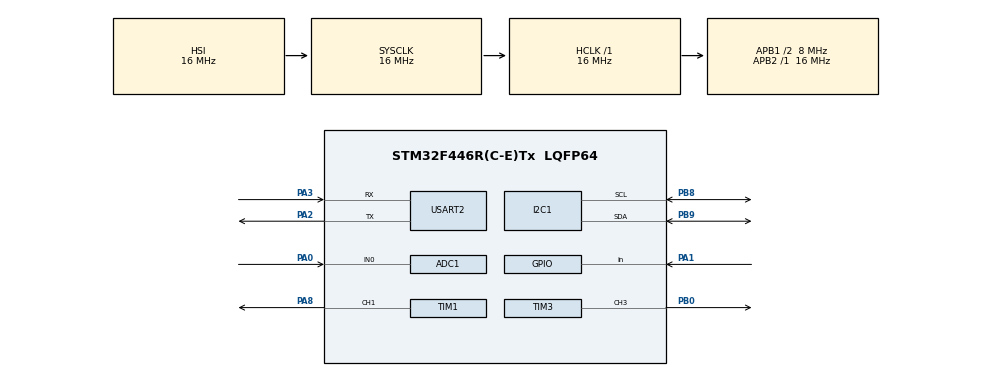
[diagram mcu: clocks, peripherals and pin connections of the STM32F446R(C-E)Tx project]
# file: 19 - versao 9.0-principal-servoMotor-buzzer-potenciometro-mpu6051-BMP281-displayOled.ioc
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ADC1.Channel-7\#ChannelRegularConversion=ADC_CHANNEL_0
ADC1.NbrOfConversionFlag=1
ADC1.Rank-7\#ChannelRegularConversion=1
ADC1.Resolution=ADC_RESOLUTION_8B
ADC1.SamplingTime-7\#ChannelRegularConversion=ADC_SAMPLETIME_3CYCLES
ADC1.master=1
Mcu.Family=STM32F4
Mcu.Name=STM32F446R(C-E)Tx
Mcu.Package=LQFP64
NVIC.PriorityGroup=NVIC_PRIORITYGROUP_0
PA0-WKUP.Signal=ADCx_IN0
PA1.GPIO_PuPd=GPIO_PULLUP
PA1.Signal=GPIO_Input
PA2.Mode=Asynchronous
PA2.Signal=USART2_TX
PA3.Mode=Asynchronous
PA3.Signal=USART2_RX
PA8.Signal=S_TIM1_CH1
PB0.Signal=S_TIM3_CH3
PB8.Mode=I2C
PB8.Signal=I2C1_SCL
PB9.Mode=I2C
PB9.Signal=I2C1_SDA
ProjectManager.HeapSize=0x200
ProjectManager.StackSize=0x400
ProjectManager.TargetToolchain=STM32CubeIDE
RCC.48MHZClocksFreq_Value=84000000
RCC.AHBFreq_Value=16000000
RCC.APB1CLKDivider=RCC_HCLK_DIV2
RCC.APB1Freq_Value=8000000
RCC.APB1TimFreq_Value=16000000
RCC.APB2Freq_Value=16000000
RCC.APB2TimFreq_Value=16000000
RCC.CortexFreq_Value=16000000
RCC.FLatency-AdvancedSettings=FLASH_LATENCY_0
RCC.HCLKFreq_Value=16000000
RCC.HSE_VALUE=8000000
RCC.HSI_VALUE=16000000
RCC.PLLN=336
RCC.PLLP=RCC_PLLP_DIV4
RCC.SYSCLKFreq_VALUE=16000000
RCC.USBFreq_Value=168000000
RCC.VCOOutputFreq_Value=336000000
SH.ADCx_IN0.0=ADC1_IN0,IN0
SH.S_TIM1_CH1.0=TIM1_CH1,PWM Generation1 CH1
SH.S_TIM3_CH3.0=TIM3_CH3,PWM Generation3 CH3
TIM1.Channel-PWM\ Generation1\ CH1=TIM_CHANNEL_1
TIM1.Period=2000
TIM1.Prescaler=160-1
TIM3.Channel-PWM\ Generation3\ CH3=TIM_CHANNEL_3
USART2.VirtualMode=VM_ASYNC
VP_TIM1_VS_ClockSourceINT.Mode=Internal
VP_TIM3_VS_ClockSourceINT.Mode=Internal
board=NUCLEO-F446RE

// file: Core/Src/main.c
/* USER CODE BEGIN Header */
/**
  ******************************************************************************
  * @file           : main.c
  * @brief          : Main program body
  ******************************************************************************
  * @attention
  *
  * Copyright (c) 2024 STMicroelectronics.
  * All rights reserved.
  *
  * This software is licensed under terms that can be found in the LICENSE file
  * in the root directory of this software component.
  * If no LICENSE file comes with this software, it is provided AS-IS.
  *
  ******************************************************************************
  */
/* USER CODE END Header */
#include "main.h"

/* USER CODE BEGIN Includes */
#include "mpu6050.h"
#include "bmp280.h"
#include "ssd1306.h"
#include "ssd1306_fonts.h"
#include "oled_display_control.h" // novo cabeçalho incluído para controle do display
#include "servo_motor.h"
#include <stdio.h>
#include <math.h>
#include <stdbool.h>
#include <stdlib.h>
#include <string.h>

/* USER CODE END Includes */

ADC_HandleTypeDef hadc1;

I2C_HandleTypeDef hi2c1;

TIM_HandleTypeDef htim1;
TIM_HandleTypeDef htim3;

UART_HandleTypeDef huart2;

/* USER CODE BEGIN PV */

//-------------------------------------------
// BMP280

BMP280_HandleTypedef bmp280;

//-------------------------------------------

int contador_interfaces_do_display_oled = 0;

uint16_t dc = 1;
int sentido_da_direcao = 1;
char uart_buffer[50]; // Buffer para armazenar a string a ser enviada

int contador_conta_tempo_para_coletar_dados_dos_sensores = 0;

/* USER CODE END PV */

void SystemClock_Config(void);
static void MX_GPIO_Init(void);
static void MX_TIM1_Init(void);
static void MX_USART2_UART_Init(void);
static void MX_ADC1_Init(void);
static void MX_TIM3_Init(void);
static void MX_I2C1_Init(void);
/* USER CODE BEGIN PFP */

void TrocarInterfaceDisplay(int *contador_interfaces_do_display_oled, TIM_HandleTypeDef *htim3);
void AtualizarDisplay(int contador_interfaces_do_display_oled, float temperatureBMP280, float pressureBMP280, float altitudeBMP280);

/* USER CODE END PFP */

/* USER CODE BEGIN 0 */

//-------------------------------------------
// BMP280

float altitudeBMP280 ,pressureBMP280, temperatureBMP280, humidityBMP280;

#define BMP280_ADDRESS 0x76

uint16_t size;
char Data[90];
char Data1[90];
char Data2[90];

//---------------------------------------------------------------
// do MPU6050

// Variável global para armazenar os dados do MPU6050
MPU6050_Data mpuData;

void funcao_printa_dados_do_mpu6050_na_usart(void) {

	  // Ler valores de Accelerometer e Gyro
	  MPU6050_Read_Accel(&hi2c1, &mpuData);
	  MPU6050_Read_Gyro(&hi2c1, &mpuData);

}

void funcao_printa_os_dados_do_bmp280(void) {
	while (!bmp280_read_float(&bmp280, &temperatureBMP280, &pressureBMP280, &humidityBMP280 , &altitudeBMP280)) {
	size = sprintf((char *)Data, "Temperature/pressure reading failed\n");
	}
}

void funcao_enviador_todos_os_dados_uteis_para_a_usart2(void) {

	char Data[300]; // Ajuste o tamanho conforme necessário

	// Cria uma única string com todas as informações
	sprintf((char *)Data,
	        "%0.1f,%0.1f,%0.1f,%0.2f,%0.2f,%0.2f,%0.2f,%0.2f,%0.2f\n",
	        pressureBMP280,
	        altitudeBMP280,
	        temperatureBMP280,
			mpuData.Gx, mpuData.Gy, mpuData.Gz,
			mpuData.Ax, mpuData.Ay, mpuData.Az);

	// Transmite a string em uma única chamada
	HAL_UART_Transmit(&huart2, (uint8_t *)Data, strlen(Data), 10000);
}

//---------------------------------------------------------------

/* USER CODE END 0 */

int main(void)
{

  /* MCU Configuration--------------------------------------------------------*/

  /* Reset of all peripherals, Initializes the Flash interface and the Systick. */
  HAL_Init();

  /* Configure the system clock */
  SystemClock_Config();

  /* Initialize all configured peripherals */
  MX_GPIO_Init();
  MX_TIM1_Init();
  MX_USART2_UART_Init();
  MX_ADC1_Init();
  MX_TIM3_Init();
  MX_I2C1_Init();
  /* USER CODE BEGIN 2 */

  ServoMotor_Init(&htim1);

//  MPU6050_Init();
  // Inicializa o MPU6050
  MPU6050_Init(&hi2c1);

  HAL_TIM_PWM_Start(&htim1, TIM_CHANNEL_1);

  // Inicia o PWM no canal 3 do TIM3 (PB0)
  HAL_TIM_PWM_Start(&htim3, TIM_CHANNEL_3);

  //-------------------------------------------------------------------
  //Código do display Oled

  /* Inicialize o display SSD1306 */
  ssd1306_Init();

  /* USER CODE END 2 */

  /* Infinite loop */
  /* USER CODE BEGIN WHILE */

  //-------------------------------------------
  // BMP280

	// SENSOR BMP280
	bmp280_init_default_params(&bmp280.params);
	bmp280.addr = BMP280_I2C_ADDRESS_0;
	bmp280.i2c = &hi2c1;

	sprintf((char *)Data,"INICIANDO - BMP280\n");
	HAL_UART_Transmit(&huart2, (uint8_t *)Data, strlen(Data), 10000);

	while (!(bmp280_init(&bmp280, &bmp280.params)))
		{
			size = sprintf((char *)Data, "BMP280 initialization failed\n");
			HAL_UART_Transmit(&huart2, (uint8_t *)Data, strlen(Data), 10000);
			HAL_Delay(2000);
		}

	bool bme280p = bmp280.id == BMP280_CHIP_ID;
	size = sprintf((char *)Data, "BMP280: found %s\n", bme280p ? "BME280" : "BMP280");
	//_____________________

	//-------------------------------------------

  while (1) {

	  // Controlar Servo Motor
	  ServoMotor_Control(&hadc1, &htim3);

	  // Trocar interface com botão
	  TrocarInterfaceDisplay(&contador_interfaces_do_display_oled, &htim3);

	  // Coletar dados dos sensores e atualizar o display
	  contador_conta_tempo_para_coletar_dados_dos_sensores++;
	  if (contador_conta_tempo_para_coletar_dados_dos_sensores > 20) {

		  AtualizarDisplay(contador_interfaces_do_display_oled, temperatureBMP280, pressureBMP280, altitudeBMP280);

		  funcao_printa_dados_do_mpu6050_na_usart();
		  funcao_printa_os_dados_do_bmp280();
		  funcao_enviador_todos_os_dados_uteis_para_a_usart2();
		  contador_conta_tempo_para_coletar_dados_dos_sensores = 0;
	  }
	  HAL_Delay(50);

    /* USER CODE END WHILE */

  }
}

void SystemClock_Config(void)
{
  RCC_OscInitTypeDef RCC_OscInitStruct = {0};
  RCC_ClkInitTypeDef RCC_ClkInitStruct = {0};

  /** Configure the main internal regulator output voltage
  */
  __HAL_RCC_PWR_CLK_ENABLE();
  __HAL_PWR_VOLTAGESCALING_CONFIG(PWR_REGULATOR_VOLTAGE_SCALE3);

  /** Initializes the RCC Oscillators according to the specified parameters
  * in the RCC_OscInitTypeDef structure.
  */
  RCC_OscInitStruct.OscillatorType = RCC_OSCILLATORTYPE_HSI;
  RCC_OscInitStruct.HSIState = RCC_HSI_ON;
  RCC_OscInitStruct.HSICalibrationValue = RCC_HSICALIBRATION_DEFAULT;
  RCC_OscInitStruct.PLL.PLLState = RCC_PLL_NONE;
  if (HAL_RCC_OscConfig(&RCC_OscInitStruct) != HAL_OK)
  {
    Error_Handler();
  }

  /** Initializes the CPU, AHB and APB buses clocks
  */
  RCC_ClkInitStruct.ClockType = RCC_CLOCKTYPE_HCLK|RCC_CLOCKTYPE_SYSCLK
                              |RCC_CLOCKTYPE_PCLK1|RCC_CLOCKTYPE_PCLK2;
  RCC_ClkInitStruct.SYSCLKSource = RCC_SYSCLKSOURCE_HSI;
  RCC_ClkInitStruct.AHBCLKDivider = RCC_SYSCLK_DIV1;
  RCC_ClkInitStruct.APB1CLKDivider = RCC_HCLK_DIV2;
  RCC_ClkInitStruct.APB2CLKDivider = RCC_HCLK_DIV1;

  if (HAL_RCC_ClockConfig(&RCC_ClkInitStruct, FLASH_LATENCY_0) != HAL_OK)
  {
    Error_Handler();
  }
}

static void MX_ADC1_Init(void)
{

  ADC_ChannelConfTypeDef sConfig = {0};

  /** Configure the global features of the ADC (Clock, Resolution, Data Alignment and number of conversion)
  */
  hadc1.Instance = ADC1;
  hadc1.Init.ClockPrescaler = ADC_CLOCK_SYNC_PCLK_DIV2;
  hadc1.Init.Resolution = ADC_RESOLUTION_8B;
  hadc1.Init.ScanConvMode = DISABLE;
  hadc1.Init.ContinuousConvMode = DISABLE;
  hadc1.Init.DiscontinuousConvMode = DISABLE;
  hadc1.Init.ExternalTrigConvEdge = ADC_EXTERNALTRIGCONVEDGE_NONE;
  hadc1.Init.ExternalTrigConv = ADC_SOFTWARE_START;
  hadc1.Init.DataAlign = ADC_DATAALIGN_RIGHT;
  hadc1.Init.NbrOfConversion = 1;
  hadc1.Init.DMAContinuousRequests = DISABLE;
  hadc1.Init.EOCSelection = ADC_EOC_SINGLE_CONV;
  if (HAL_ADC_Init(&hadc1) != HAL_OK)
  {
    Error_Handler();
  }

  /** Configure for the selected ADC regular channel its corresponding rank in the sequencer and its sample time.
  */
  sConfig.Channel = ADC_CHANNEL_0;
  sConfig.Rank = 1;
  sConfig.SamplingTime = ADC_SAMPLETIME_3CYCLES;
  if (HAL_ADC_ConfigChannel(&hadc1, &sConfig) != HAL_OK)
  {
    Error_Handler();
  }

}

static void MX_I2C1_Init(void)
{

  hi2c1.Instance = I2C1;
  hi2c1.Init.ClockSpeed = 100000;
  hi2c1.Init.DutyCycle = I2C_DUTYCYCLE_2;
  hi2c1.Init.OwnAddress1 = 0;
  hi2c1.Init.AddressingMode = I2C_ADDRESSINGMODE_7BIT;
  hi2c1.Init.DualAddressMode = I2C_DUALADDRESS_DISABLE;
  hi2c1.Init.OwnAddress2 = 0;
  hi2c1.Init.GeneralCallMode = I2C_GENERALCALL_DISABLE;
  hi2c1.Init.NoStretchMode = I2C_NOSTRETCH_DISABLE;
  if (HAL_I2C_Init(&hi2c1) != HAL_OK)
  {
    Error_Handler();
  }

}

static void MX_TIM1_Init(void)
{

  TIM_ClockConfigTypeDef sClockSourceConfig = {0};
  TIM_MasterConfigTypeDef sMasterConfig = {0};
  TIM_OC_InitTypeDef sConfigOC = {0};
  TIM_BreakDeadTimeConfigTypeDef sBreakDeadTimeConfig = {0};

  htim1.Instance = TIM1;
  htim1.Init.Prescaler = 160-1;
  htim1.Init.CounterMode = TIM_COUNTERMODE_UP;
  htim1.Init.Period = 2000;
  htim1.Init.ClockDivision = TIM_CLOCKDIVISION_DIV1;
  htim1.Init.RepetitionCounter = 0;
  htim1.Init.AutoReloadPreload = TIM_AUTORELOAD_PRELOAD_DISABLE;
  if (HAL_TIM_Base_Init(&htim1) != HAL_OK)
  {
    Error_Handler();
  }
  sClockSourceConfig.ClockSource = TIM_CLOCKSOURCE_INTERNAL;
  if (HAL_TIM_ConfigClockSource(&htim1, &sClockSourceConfig) != HAL_OK)
  {
    Error_Handler();
  }
  if (HAL_TIM_PWM_Init(&htim1) != HAL_OK)
  {
    Error_Handler();
  }
  sMasterConfig.MasterOutputTrigger = TIM_TRGO_RESET;
  sMasterConfig.MasterSlaveMode = TIM_MASTERSLAVEMODE_DISABLE;
  if (HAL_TIMEx_MasterConfigSynchronization(&htim1, &sMasterConfig) != HAL_OK)
  {
    Error_Handler();
  }
  sConfigOC.OCMode = TIM_OCMODE_PWM1;
  sConfigOC.Pulse = 0;
  sConfigOC.OCPolarity = TIM_OCPOLARITY_HIGH;
  sConfigOC.OCNPolarity = TIM_OCNPOLARITY_HIGH;
  sConfigOC.OCFastMode = TIM_OCFAST_DISABLE;
  sConfigOC.OCIdleState = TIM_OCIDLESTATE_RESET;
  sConfigOC.OCNIdleState = TIM_OCNIDLESTATE_RESET;
  if (HAL_TIM_PWM_ConfigChannel(&htim1, &sConfigOC, TIM_CHANNEL_1) != HAL_OK)
  {
    Error_Handler();
  }
  sBreakDeadTimeConfig.OffStateRunMode = TIM_OSSR_DISABLE;
  sBreakDeadTimeConfig.OffStateIDLEMode = TIM_OSSI_DISABLE;
  sBreakDeadTimeConfig.LockLevel = TIM_LOCKLEVEL_OFF;
  sBreakDeadTimeConfig.DeadTime = 0;
  sBreakDeadTimeConfig.BreakState = TIM_BREAK_DISABLE;
  sBreakDeadTimeConfig.BreakPolarity = TIM_BREAKPOLARITY_HIGH;
  sBreakDeadTimeConfig.AutomaticOutput = TIM_AUTOMATICOUTPUT_DISABLE;
  if (HAL_TIMEx_ConfigBreakDeadTime(&htim1, &sBreakDeadTimeConfig) != HAL_OK)
  {
    Error_Handler();
  }
  HAL_TIM_MspPostInit(&htim1);

}

static void MX_TIM3_Init(void)
{

  TIM_ClockConfigTypeDef sClockSourceConfig = {0};
  TIM_MasterConfigTypeDef sMasterConfig = {0};
  TIM_OC_InitTypeDef sConfigOC = {0};

  htim3.Instance = TIM3;
  htim3.Init.Prescaler = 0;
  htim3.Init.CounterMode = TIM_COUNTERMODE_UP;
  htim3.Init.Period = 65535;
  htim3.Init.ClockDivision = TIM_CLOCKDIVISION_DIV1;
  htim3.Init.AutoReloadPreload = TIM_AUTORELOAD_PRELOAD_DISABLE;
  if (HAL_TIM_Base_Init(&htim3) != HAL_OK)
  {
    Error_Handler();
  }
  sClockSourceConfig.ClockSource = TIM_CLOCKSOURCE_INTERNAL;
  if (HAL_TIM_ConfigClockSource(&htim3, &sClockSourceConfig) != HAL_OK)
  {
    Error_Handler();
  }
  if (HAL_TIM_PWM_Init(&htim3) != HAL_OK)
  {
    Error_Handler();
  }
  sMasterConfig.MasterOutputTrigger = TIM_TRGO_RESET;
  sMasterConfig.MasterSlaveMode = TIM_MASTERSLAVEMODE_DISABLE;
  if (HAL_TIMEx_MasterConfigSynchronization(&htim3, &sMasterConfig) != HAL_OK)
  {
    Error_Handler();
  }
  sConfigOC.OCMode = TIM_OCMODE_PWM1;
  sConfigOC.Pulse = 0;
  sConfigOC.OCPolarity = TIM_OCPOLARITY_HIGH;
  sConfigOC.OCFastMode = TIM_OCFAST_DISABLE;
  if (HAL_TIM_PWM_ConfigChannel(&htim3, &sConfigOC, TIM_CHANNEL_3) != HAL_OK)
  {
    Error_Handler();
  }
  HAL_TIM_MspPostInit(&htim3);

}

static void MX_USART2_UART_Init(void)
{

  huart2.Instance = USART2;
  huart2.Init.BaudRate = 115200;
  huart2.Init.WordLength = UART_WORDLENGTH_8B;
  huart2.Init.StopBits = UART_STOPBITS_1;
  huart2.Init.Parity = UART_PARITY_NONE;
  huart2.Init.Mode = UART_MODE_TX_RX;
  huart2.Init.HwFlowCtl = UART_HWCONTROL_NONE;
  huart2.Init.OverSampling = UART_OVERSAMPLING_16;
  if (HAL_UART_Init(&huart2) != HAL_OK)
  {
    Error_Handler();
  }

}

static void MX_GPIO_Init(void)
{
  GPIO_InitTypeDef GPIO_InitStruct = {0};

  /* GPIO Ports Clock Enable */
  __HAL_RCC_GPIOA_CLK_ENABLE();
  __HAL_RCC_GPIOB_CLK_ENABLE();

  /*Configure GPIO pin : PA1 */
  GPIO_InitStruct.Pin = GPIO_PIN_1;
  GPIO_InitStruct.Mode = GPIO_MODE_INPUT;
  GPIO_InitStruct.Pull = GPIO_PULLUP;
  HAL_GPIO_Init(GPIOA, &GPIO_InitStruct);

}

void Error_Handler(void)
{
  __disable_irq();
  while (1)
  {
  }
}
